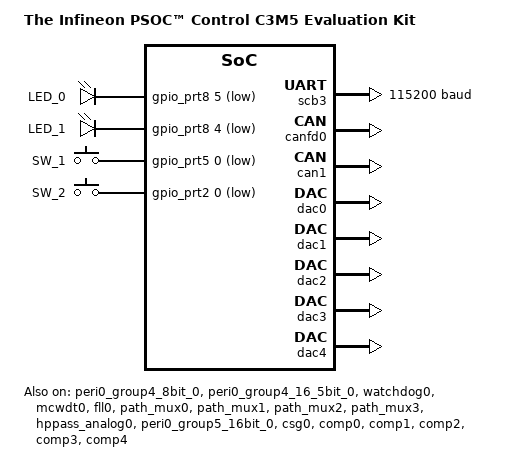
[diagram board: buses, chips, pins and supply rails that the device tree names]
/*
 * SPDX-FileCopyrightText: <text>Copyright (c) 2026 Infineon Technologies AG,
 * or an affiliate of Infineon Technologies AG. All rights reserved.</text>
 *
 * SPDX-License-Identifier: Apache-2.0
 */

/*
 * Common devicetree content for the kit_psc3m5_evk secure board variants.
 */

#include <zephyr/dt-bindings/input/input-event-codes.h>

/ {
	model = "The Infineon PSOC™ Control C3M5 Evaluation Kit";
	compatible = "infineon,kit_psc3m5_evk", "infineon,PSC3M5";

	aliases {
		led0 = &user_led0;
		led1 = &user_led1;
		sw0 = &user_bt0;
		sw1 = &user_bt1;
		watchdog0 = &watchdog0;
	};

	leds {
		compatible = "gpio-leds";

		user_led0: led_0 {
			label = "LED_0";
			gpios = <&gpio_prt8 5 GPIO_ACTIVE_LOW>;
		};

		user_led1: led_1 {
			label = "LED_1";
			gpios = <&gpio_prt8 4 GPIO_ACTIVE_LOW>;
		};
	};

	gpio_keys {
		compatible = "gpio-keys";

		user_bt0: user_btn0 {
			label = "SW_1";
			gpios = <&gpio_prt5 0 (GPIO_PULL_UP | GPIO_ACTIVE_LOW)>;
			zephyr,code = <INPUT_KEY_0>;
		};

		user_bt1: user_btn1 {
			label = "SW_2";
			gpios = <&gpio_prt2 0 (GPIO_PULL_UP | GPIO_ACTIVE_LOW)>;
			zephyr,code = <INPUT_KEY_1>;
		};
	};
};

&gpio_prt0 {
	status = "okay";
};

&gpio_prt1 {
	status = "okay";
};

&gpio_prt2 {
	status = "okay";
};

&gpio_prt3 {
	status = "okay";
};

&gpio_prt5 {
	status = "okay";
};

&gpio_prt6 {
	status = "okay";
};

&gpio_prt8 {
	status = "okay";
};

uart3: &scb3 {
	compatible = "infineon,uart";
	status = "okay";
	current-speed = <115200>;

	clocks = <&peri0_group4_8bit_0>;

	pinctrl-0 = <&p6_3_scb3_uart_tx &p6_2_scb3_uart_rx &p6_1_scb3_uart_rts &p6_0_scb3_uart_cts>;
	pinctrl-names = "default";
};

&peri0_group4_8bit_0 {
	status = "okay";
	clock-div = <86>;
};

&peri0_group4_16_5bit_0 {
	status = "okay";
	clock-div = <1>;
};

&canfd0 {
	status = "okay";
};

&can1 {
	status = "okay";
	clocks = <&peri0_group4_16_5bit_0>;
	pinctrl-0 = <&p5_2_can1_rx &p5_3_can1_tx>;
	pinctrl-names = "default";
};

&watchdog0 {
	status = "okay";
};

&mcwdt0 {
	status = "okay";
};

&fll0 {
	clock-frequency = <96000000>;
	status = "okay";
};

/* For the dpll clocks declared below
 * The clock-frequency value is here for dts reference, but
 * it does not affect the frequency set by the clock_control
 * driver. That is decided by the rest of the variables in
 * this block. They result in the set clock-frequency. For other
 * frequencies, they need to be calculated separately and
 * entered into the devicetree dpll_* block.
 */

/* This dpll_lp0 is on "clock path" 1. So HF clocks sourced
 * from *_CLKPATH1 will receive this frequency, when the
 * dpll_lp0 is set to "okay".
 */
&dpll_lp0 {
	status = "okay";
	clock-frequency = <180000000>;

	feedback-div = <45>;
	reference-div = <6>;
	output-div = <2>;
	fraction-div = <0>;
	dco-mode-enable;
};

/* This dpll_lp1 is on "clock path" 2. So HF clocks sourced
 * from *_CLKPATH2 will receive this frequency instead, when the
 * dpll_lp1 is set to "okay".
 */
&dpll_lp1 {
	status = "okay";
	clock-frequency = <240000000>;

	feedback-div = <60>;
	reference-div = <6>;
	output-div = <2>;
	fraction-div = <0>;
	dco-mode-enable;
};

&path_mux0 {
	status = "okay";
};

&path_mux1 {
	status = "okay";
};

&path_mux2 {
	status = "okay";
};

&path_mux3 {
	status = "okay";
};

&clk_hf0 {
	source-path = <IFX_CLK_HF_IN_CLKPATH1>;
	status = "okay";
};

&clk_hf1 {
	source-path = <IFX_CLK_HF_IN_CLKPATH1>;
	status = "okay";
};

/*
 * CLK_HF2 feeds peri group 4 (UART, CAN, SPI, counter).
 * Source from dpll_lp1 (CLKPATH2, 240 MHz) / 3 = 80 MHz
 * for CiA 601-3 compliant CAN FD bit rates.
 * The UART driver dynamically recalculates its peri divider.
 */
&clk_hf2 {
	source-path = <IFX_CLK_HF_IN_CLKPATH2>;
	clock-div = <IFX_CLK_HF_DIVIDE_BY_3>;
	status = "okay";
};

&clk_hf3 {
	source-path = <IFX_CLK_HF_IN_CLKPATH2>;
	status = "okay";
};

/*
 * HPPASS CSG block.
 *
 * The EVK exposes all 16 CSG-capable analog input pins (AN_A0..AN_A7,
 * AN_B0..AN_B7) on headers J5/J24 with no fixed application.  Every CSG
 * slice is enabled here with its paired in-slice DAC selected as the
 * comparator negative input (TRM 002-39348 Table 253):
 *
 *   Slice 0: pos = AN_A0,  neg = DAC0
 *   Slice 1: pos = AN_A1,  neg = DAC1
 *   Slice 2: pos = AN_A2,  neg = DAC2
 *   Slice 3: pos = AN_A3,  neg = DAC3
 *   Slice 4: pos = AN_A4,  neg = DAC4
 *
 * Applications that need AIN_PB on the positive input or a standalone
 * (DAC-less) comparator may override "positive-input" / "negative-input"
 * in their own overlay.  Disable individual slices that are unused to
 * save the AC startup cycles, or disable &csg0 entirely for SAR-only use.
 *
 * STARTUP_CFG[0..2] on &hppass_analog0 are vendor-recommended values set
 * in the SoC dtsi and required for the CSG hardware bring-up cascade
 * (TRM 002-39348 §27.2.4.4).  Do not modify.
 */
&hppass_analog0 {
	status = "okay";
};

&peri0_group5_16bit_0 {
	status = "okay";
	clock-div = <2>;
};

&csg0 {
	status = "okay";
	clocks = <&peri0_group5_16bit_0>;
};

&dac0 {
	status = "okay";
};

&dac1 {
	status = "okay";
};

&dac2 {
	status = "okay";
};

&dac3 {
	status = "okay";
};

&dac4 {
	status = "okay";
};

&comp0 {
	status = "okay";
	positive-input = "ain-pa";
	negative-input = "dac";
};

&comp1 {
	status = "okay";
	positive-input = "ain-pa";
	negative-input = "dac";
};

&comp2 {
	status = "okay";
	positive-input = "ain-pa";
	negative-input = "dac";
};

&comp3 {
	status = "okay";
	positive-input = "ain-pa";
	negative-input = "dac";
};

&comp4 {
	status = "okay";
	positive-input = "ain-pa";
	negative-input = "dac";
};
